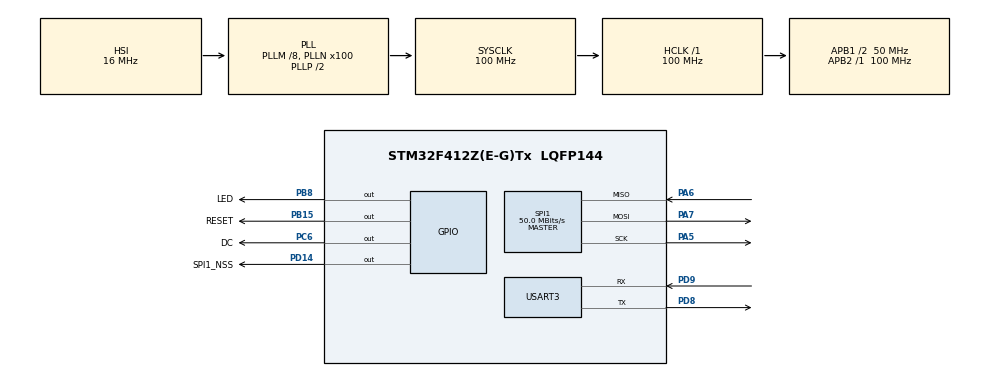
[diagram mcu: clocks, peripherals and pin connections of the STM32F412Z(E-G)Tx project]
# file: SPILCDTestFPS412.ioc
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Dma.Request0=SPI1_TX
Dma.SPI1_TX.0.Direction=DMA_MEMORY_TO_PERIPH
Dma.SPI1_TX.0.FIFOMode=DMA_FIFOMODE_DISABLE
Dma.SPI1_TX.0.Instance=DMA2_Stream2
Dma.SPI1_TX.0.MemDataAlignment=DMA_MDATAALIGN_BYTE
Dma.SPI1_TX.0.MemInc=DMA_MINC_ENABLE
Dma.SPI1_TX.0.Mode=DMA_NORMAL
Dma.SPI1_TX.0.PeriphDataAlignment=DMA_PDATAALIGN_BYTE
Dma.SPI1_TX.0.PeriphInc=DMA_PINC_DISABLE
Dma.SPI1_TX.0.Priority=DMA_PRIORITY_LOW
Mcu.Family=STM32F4
Mcu.Name=STM32F412Z(E-G)Tx
Mcu.Package=LQFP144
NVIC.DMA2_Stream2_IRQn=true\:1\:0\:true\:false\:true\:false\:true
NVIC.PriorityGroup=NVIC_PRIORITYGROUP_4
NVIC.TIM2_IRQn=true\:2\:0\:true\:false\:true\:true\:true
NVIC.USART3_IRQn=true\:3\:0\:true\:false\:true\:true\:true
PA5.Mode=Full_Duplex_Master
PA5.Signal=SPI1_SCK
PA6.Mode=Full_Duplex_Master
PA6.Signal=SPI1_MISO
PA7.Mode=Full_Duplex_Master
PA7.Signal=SPI1_MOSI
PB15.GPIO_Label=RESET
PB15.GPIO_Speed=GPIO_SPEED_FREQ_VERY_HIGH
PB15.PinState=GPIO_PIN_SET
PB15.Signal=GPIO_Output
PB8.GPIO_Label=LED
PB8.GPIO_Speed=GPIO_SPEED_FREQ_VERY_HIGH
PB8.PinState=GPIO_PIN_SET
PB8.Signal=GPIO_Output
PC6.GPIO_Label=DC
PC6.GPIO_Speed=GPIO_SPEED_FREQ_VERY_HIGH
PC6.PinState=GPIO_PIN_SET
PC6.Signal=GPIO_Output
PD14.GPIO_Label=SPI1_NSS
PD14.GPIO_Speed=GPIO_SPEED_FREQ_VERY_HIGH
PD14.PinState=GPIO_PIN_SET
PD14.Signal=GPIO_Output
PD8.Mode=Asynchronous
PD8.Signal=USART3_TX
PD9.Mode=Asynchronous
PD9.Signal=USART3_RX
ProjectManager.HeapSize=0x200
ProjectManager.StackSize=0x400
ProjectManager.TargetToolchain=STM32CubeIDE
RCC.AHBFreq_Value=100000000
RCC.APB1CLKDivider=RCC_HCLK_DIV2
RCC.APB1Freq_Value=50000000
RCC.APB1TimFreq_Value=100000000
RCC.APB2Freq_Value=100000000
RCC.APB2TimFreq_Value=100000000
RCC.CortexFreq_Value=100000000
RCC.HCLKFreq_Value=100000000
RCC.PLLM=8
RCC.PLLN=100
RCC.SYSCLKFreq_VALUE=100000000
RCC.SYSCLKSource=RCC_SYSCLKSOURCE_PLLCLK
RCC.USBFreq_Value=100000000
RCC.VCOOutputFreq_Value=200000000
SPI1.CalculateBaudRate=50.0 MBits/s
SPI1.Direction=SPI_DIRECTION_2LINES
SPI1.Mode=SPI_MODE_MASTER
SPI1.VirtualType=VM_MASTER
TIM2.AutoReloadPreload=TIM_AUTORELOAD_PRELOAD_ENABLE
TIM2.Period=9999
TIM2.Prescaler=49999
USART3.VirtualMode=VM_ASYNC
VP_TIM2_VS_ClockSourceINT.Mode=Internal
board=custom

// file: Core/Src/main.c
/* USER CODE BEGIN Header */
/**
  ******************************************************************************
  * @file           : main.c
  * @brief          : Main program body
  ******************************************************************************
  * @attention
  *
  * <h2><center>&copy; Copyright (c) 2020 STMicroelectronics.
  * All rights reserved.</center></h2>
  *
  * This software component is licensed by ST under BSD 3-Clause license,
  * the "License"; You may not use this file except in compliance with the
  * License. You may obtain a copy of the License at:
  *                        opensource.org/licenses/BSD-3-Clause
  *
  ******************************************************************************
  */
/* USER CODE END Header */

#include "main.h"

/* USER CODE BEGIN Includes */
#include "ili9341.h"
#include "gui.h"
#include <stdio.h>
#include <string.h>
/* USER CODE END Includes */

SPI_HandleTypeDef hspi1;
DMA_HandleTypeDef hdma_spi1_tx;

TIM_HandleTypeDef htim2;

UART_HandleTypeDef huart3;

void SystemClock_Config(void);
static void MX_GPIO_Init(void);
static void MX_DMA_Init(void);
static void MX_SPI1_Init(void);
static void MX_TIM2_Init(void);
static void MX_USART3_UART_Init(void);

/* USER CODE BEGIN 0 */
#define CLSIZ 5
uint16_t color[CLSIZ] = {BLACK, BLUE, RED, GREEN, WHITE};
__IO uint32_t Frame;
/* USER CODE END 0 */

int main(void)
{
  /* USER CODE BEGIN 1 */
	uint32_t idx = 0;
  /* USER CODE END 1 */

  /* MCU Configuration--------------------------------------------------------*/

  /* Reset of all peripherals, Initializes the Flash interface and the Systick. */
  HAL_Init();

  /* Configure the system clock */
  SystemClock_Config();

  /* Initialize all configured peripherals */
  MX_GPIO_Init();
  MX_DMA_Init();
  MX_SPI1_Init();
  MX_TIM2_Init();
  MX_USART3_UART_Init();
  /* USER CODE BEGIN 2 */
  ILI9341_Init();
  HAL_TIM_Base_Start_IT(&htim2);
  /* USER CODE END 2 */

  /* Infinite loop */
  while (1)
  {

    /* USER CODE BEGIN 3 */
	  GUI_FillScreen(color[idx++]);
	  idx = (idx >= CLSIZ) ? 0 : idx;
	  Frame++;
  }
  /* USER CODE END 3 */
}

void SystemClock_Config(void)
{
  RCC_OscInitTypeDef RCC_OscInitStruct = {0};
  RCC_ClkInitTypeDef RCC_ClkInitStruct = {0};

  /** Configure the main internal regulator output voltage
  */
  __HAL_RCC_PWR_CLK_ENABLE();
  __HAL_PWR_VOLTAGESCALING_CONFIG(PWR_REGULATOR_VOLTAGE_SCALE1);
  /** Initializes the CPU, AHB and APB busses clocks
  */
  RCC_OscInitStruct.OscillatorType = RCC_OSCILLATORTYPE_HSI;
  RCC_OscInitStruct.HSIState = RCC_HSI_ON;
  RCC_OscInitStruct.HSICalibrationValue = RCC_HSICALIBRATION_DEFAULT;
  RCC_OscInitStruct.PLL.PLLState = RCC_PLL_ON;
  RCC_OscInitStruct.PLL.PLLSource = RCC_PLLSOURCE_HSI;
  RCC_OscInitStruct.PLL.PLLM = 8;
  RCC_OscInitStruct.PLL.PLLN = 100;
  RCC_OscInitStruct.PLL.PLLP = RCC_PLLP_DIV2;
  RCC_OscInitStruct.PLL.PLLQ = 2;
  RCC_OscInitStruct.PLL.PLLR = 2;
  if (HAL_RCC_OscConfig(&RCC_OscInitStruct) != HAL_OK)
  {
    Error_Handler();
  }
  /** Initializes the CPU, AHB and APB busses clocks
  */
  RCC_ClkInitStruct.ClockType = RCC_CLOCKTYPE_HCLK|RCC_CLOCKTYPE_SYSCLK
                              |RCC_CLOCKTYPE_PCLK1|RCC_CLOCKTYPE_PCLK2;
  RCC_ClkInitStruct.SYSCLKSource = RCC_SYSCLKSOURCE_PLLCLK;
  RCC_ClkInitStruct.AHBCLKDivider = RCC_SYSCLK_DIV1;
  RCC_ClkInitStruct.APB1CLKDivider = RCC_HCLK_DIV2;
  RCC_ClkInitStruct.APB2CLKDivider = RCC_HCLK_DIV1;

  if (HAL_RCC_ClockConfig(&RCC_ClkInitStruct, FLASH_LATENCY_3) != HAL_OK)
  {
    Error_Handler();
  }
}

static void MX_SPI1_Init(void)
{

  /* SPI1 parameter configuration*/
  hspi1.Instance = SPI1;
  hspi1.Init.Mode = SPI_MODE_MASTER;
  hspi1.Init.Direction = SPI_DIRECTION_2LINES;
  hspi1.Init.DataSize = SPI_DATASIZE_8BIT;
  hspi1.Init.CLKPolarity = SPI_POLARITY_LOW;
  hspi1.Init.CLKPhase = SPI_PHASE_1EDGE;
  hspi1.Init.NSS = SPI_NSS_SOFT;
  hspi1.Init.BaudRatePrescaler = SPI_BAUDRATEPRESCALER_2;
  hspi1.Init.FirstBit = SPI_FIRSTBIT_MSB;
  hspi1.Init.TIMode = SPI_TIMODE_DISABLE;
  hspi1.Init.CRCCalculation = SPI_CRCCALCULATION_DISABLE;
  hspi1.Init.CRCPolynomial = 10;
  if (HAL_SPI_Init(&hspi1) != HAL_OK)
  {
    Error_Handler();
  }

}

static void MX_TIM2_Init(void)
{

  TIM_ClockConfigTypeDef sClockSourceConfig = {0};
  TIM_MasterConfigTypeDef sMasterConfig = {0};

  htim2.Instance = TIM2;
  htim2.Init.Prescaler = 49999;
  htim2.Init.CounterMode = TIM_COUNTERMODE_UP;
  htim2.Init.Period = 9999;
  htim2.Init.ClockDivision = TIM_CLOCKDIVISION_DIV1;
  htim2.Init.AutoReloadPreload = TIM_AUTORELOAD_PRELOAD_ENABLE;
  if (HAL_TIM_Base_Init(&htim2) != HAL_OK)
  {
    Error_Handler();
  }
  sClockSourceConfig.ClockSource = TIM_CLOCKSOURCE_INTERNAL;
  if (HAL_TIM_ConfigClockSource(&htim2, &sClockSourceConfig) != HAL_OK)
  {
    Error_Handler();
  }
  sMasterConfig.MasterOutputTrigger = TIM_TRGO_RESET;
  sMasterConfig.MasterSlaveMode = TIM_MASTERSLAVEMODE_DISABLE;
  if (HAL_TIMEx_MasterConfigSynchronization(&htim2, &sMasterConfig) != HAL_OK)
  {
    Error_Handler();
  }

}

static void MX_USART3_UART_Init(void)
{

  huart3.Instance = USART3;
  huart3.Init.BaudRate = 115200;
  huart3.Init.WordLength = UART_WORDLENGTH_8B;
  huart3.Init.StopBits = UART_STOPBITS_1;
  huart3.Init.Parity = UART_PARITY_NONE;
  huart3.Init.Mode = UART_MODE_TX_RX;
  huart3.Init.HwFlowCtl = UART_HWCONTROL_NONE;
  huart3.Init.OverSampling = UART_OVERSAMPLING_16;
  if (HAL_UART_Init(&huart3) != HAL_OK)
  {
    Error_Handler();
  }

}

static void MX_DMA_Init(void)
{

  /* DMA controller clock enable */
  __HAL_RCC_DMA2_CLK_ENABLE();

  /* DMA interrupt init */
  /* DMA2_Stream2_IRQn interrupt configuration */
  HAL_NVIC_SetPriority(DMA2_Stream2_IRQn, 1, 0);
  HAL_NVIC_EnableIRQ(DMA2_Stream2_IRQn);

}

static void MX_GPIO_Init(void)
{
  GPIO_InitTypeDef GPIO_InitStruct = {0};

  /* GPIO Ports Clock Enable */
  __HAL_RCC_GPIOA_CLK_ENABLE();
  __HAL_RCC_GPIOB_CLK_ENABLE();
  __HAL_RCC_GPIOD_CLK_ENABLE();
  __HAL_RCC_GPIOC_CLK_ENABLE();

  /*Configure GPIO pin Output Level */
  HAL_GPIO_WritePin(GPIOB, RESET_Pin|LED_Pin, GPIO_PIN_SET);

  /*Configure GPIO pin Output Level */
  HAL_GPIO_WritePin(SPI1_NSS_GPIO_Port, SPI1_NSS_Pin, GPIO_PIN_SET);

  /*Configure GPIO pin Output Level */
  HAL_GPIO_WritePin(DC_GPIO_Port, DC_Pin, GPIO_PIN_SET);

  /*Configure GPIO pins : RESET_Pin LED_Pin */
  GPIO_InitStruct.Pin = RESET_Pin|LED_Pin;
  GPIO_InitStruct.Mode = GPIO_MODE_OUTPUT_PP;
  GPIO_InitStruct.Pull = GPIO_NOPULL;
  GPIO_InitStruct.Speed = GPIO_SPEED_FREQ_VERY_HIGH;
  HAL_GPIO_Init(GPIOB, &GPIO_InitStruct);

  /*Configure GPIO pin : SPI1_NSS_Pin */
  GPIO_InitStruct.Pin = SPI1_NSS_Pin;
  GPIO_InitStruct.Mode = GPIO_MODE_OUTPUT_PP;
  GPIO_InitStruct.Pull = GPIO_NOPULL;
  GPIO_InitStruct.Speed = GPIO_SPEED_FREQ_VERY_HIGH;
  HAL_GPIO_Init(SPI1_NSS_GPIO_Port, &GPIO_InitStruct);

  /*Configure GPIO pin : DC_Pin */
  GPIO_InitStruct.Pin = DC_Pin;
  GPIO_InitStruct.Mode = GPIO_MODE_OUTPUT_PP;
  GPIO_InitStruct.Pull = GPIO_NOPULL;
  GPIO_InitStruct.Speed = GPIO_SPEED_FREQ_VERY_HIGH;
  HAL_GPIO_Init(DC_GPIO_Port, &GPIO_InitStruct);

}

/* USER CODE BEGIN 4 */
void HAL_TIM_PeriodElapsedCallback(TIM_HandleTypeDef *htim)
{
	static char str[16];
	sprintf(str, "%f\n", (float)Frame/5.0f);
	HAL_UART_Transmit_IT(&huart3, (uint8_t*)str, strlen(str));
	Frame = 0;
}
/* USER CODE END 4 */

void Error_Handler(void)
{
  /* USER CODE BEGIN Error_Handler_Debug */
  /* User can add his own implementation to report the HAL error return state */
	while (1)
		;
  /* USER CODE END Error_Handler_Debug */
}

/************************ (C) COPYRIGHT STMicroelectronics *****END OF FILE****/
